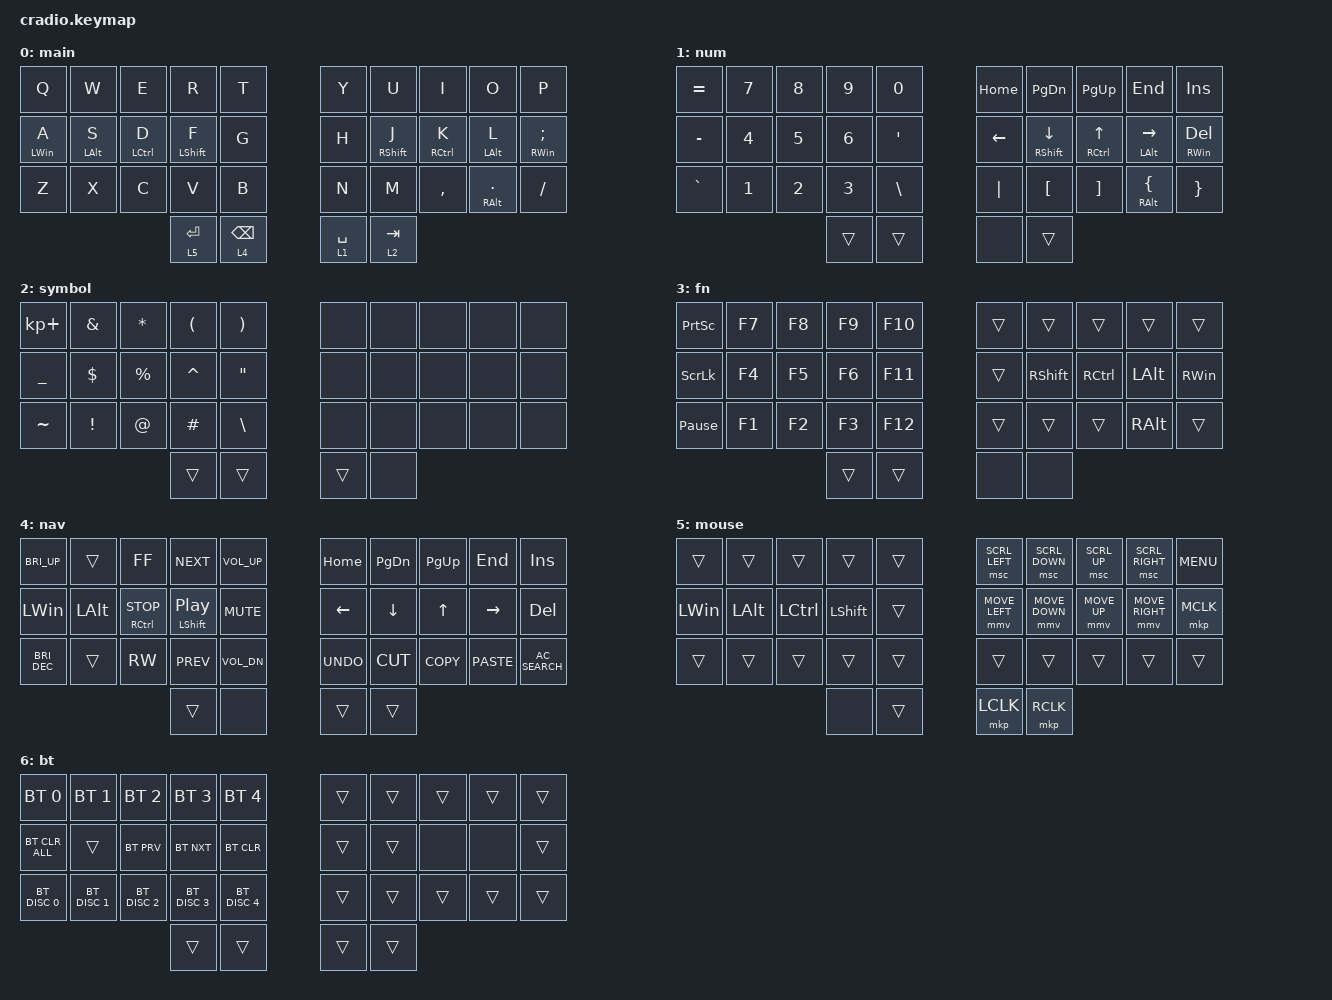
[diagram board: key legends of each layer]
// Copyright (c) 2022 The ZMK Contributors
// SPDX-License-Identifier: MIT

#include <behaviors.dtsi>
#include <dt-bindings/zmk/bt.h>
#include <dt-bindings/zmk/keys.h>
#include <dt-bindings/zmk/pointing.h>

// Home row mods macro
/* #define HRML(k1,k2,k3,k4) &ht LSHFT k1  &ht LALT k2  &ht LCTRL k3  &ht LGUI k4 */
/* #define HRMR(k1,k2,k3,k4) &ht RGUI k1  &ht RCTRL k2  &ht RALT k3  &ht RSHFT k4 */

/ {
    /* behaviors { */
    /*     ht: hold_tap { */
    /*         compatible = "zmk,behavior-hold-tap"; */
    /*         #binding-cells = <2>; */
    /*         flavor = "tap-preferred"; */
    /*         tapping-term-ms = <220>; */
    /*         quick-tap-ms = <150>; */
    /*         require-prior-idle-ms = <100>; */
    /*         bindings = <&kp>, <&kp>; */
    /*     }; */
    /* }; */
    /* conditional_layers { */
    /*     compatible = "zmk,conditional-layers"; */
    /*     tri_layer { */
    /*         if-layers = <1 2>; */
    /*         then-layer = <3>; */
    /*     }; */
    /* }; */

    combos {
        compatible = "zmk,combos";

        left_boot {
            bindings = <&bootloader>;
            key-positions = <10 12 11 13>;
        };

        right_boot {
            bindings = <&bootloader>;
            key-positions = <16 17 18 19>;
        };

        Escape {
            bindings = <&kp ESCAPE>;
            key-positions = <16 17>;
        };

        CapsLock {
            bindings = <&kp CAPS>;
            key-positions = <12 13>;
        };

        left_brk {
            bindings = <&kp LBKT>;
            key-positions = <3 4>;
        };

        right_brk {
            bindings = <&kp RBKT>;
            key-positions = <6 7>;
        };

        left_brc {
            bindings = <&kp LBRC>;
            key-positions = <23 22>;
        };

        right_brc {
            bindings = <&kp RBRC>;
            key-positions = <26 27>;
        };

        left_prn {
            bindings = <&kp LEFT_PARENTHESIS>;
            key-positions = <1 2>;
        };

        right_prn {
            bindings = <&kp RIGHT_PARENTHESIS>;
            key-positions = <7 8>;
        };

        layer_fn {
            bindings = <&lt 3 KP_NUMBER_0>;
            key-positions = <32 33>;
        };

        layer_bt {
            bindings = <&lt 6 DEL>;
            key-positions = <18 17>;
        };
    };

    keymap {
        compatible = "zmk,keymap";

        main {
            bindings = <
&kp Q           &kp W           &kp E        &kp R             &kp T              &kp Y        &kp U              &kp I                &kp O              &kp P
&mt LEFT_WIN A  &mt LEFT_ALT S  &mt LCTRL D  &mt LEFT_SHIFT F  &kp G              &kp H        &mt RIGHT_SHIFT J  &mt RIGHT_CONTROL K  &mt LEFT_ALT L     &mt RIGHT_WIN SEMICOLON
&kp Z           &kp X           &kp C        &kp V             &kp B              &kp N        &kp M              &kp COMMA            &mt RIGHT_ALT DOT  &kp FSLH
                                             &lt 5 ENTER       &lt 4 BACKSPACE    &lt 1 SPACE  &lt 2 TAB
            >;
        };

        num {
            bindings = <
&kp EQUAL  &kp NUMBER_7  &kp NUMBER_8  &kp NUMBER_9  &kp NUMBER_0      &kp HOME  &kp PAGE_DOWN         &kp PAGE_UP        &kp END                   &kp INS
&kp MINUS  &kp NUMBER_4  &kp NUMBER_5  &kp NUMBER_6  &kp APOSTROPHE    &kp LEFT  &mt RIGHT_SHIFT DOWN  &mt RCTRL UP       &mt LEFT_ALT RIGHT        &mt RIGHT_WIN DELETE
&kp GRAVE  &kp NUMBER_1  &kp NUMBER_2  &kp NUMBER_3  &kp BACKSLASH     &kp PIPE  &kp LEFT_BRACKET      &kp RIGHT_BRACKET  &mt RIGHT_ALT LEFT_BRACE  &kp RIGHT_BRACE
                                       &trans        &trans            &none     &trans
            >;
        };

        symbol {
            bindings = <
&kp KP_PLUS     &kp AMPERSAND    &kp ASTERISK  &kp LEFT_PARENTHESIS  &kp RIGHT_PARENTHESIS    &none   &none  &none  &none  &none
&kp UNDERSCORE  &kp DOLLAR       &kp PERCENT   &kp CARET             &kp DOUBLE_QUOTES        &none   &none  &none  &none  &none
&kp TILDE       &kp EXCLAMATION  &kp AT_SIGN   &kp HASH              &kp BACKSLASH            &none   &none  &none  &none  &none
                                               &trans                &trans                   &trans  &none
            >;
        };

        fn {
            bindings = <
&kp PRINTSCREEN  &kp F7  &kp F8  &kp F9  &kp F10    &trans  &trans           &trans     &trans         &trans
&kp SCROLLLOCK   &kp F4  &kp F5  &kp F6  &kp F11    &trans  &kp RIGHT_SHIFT  &kp RCTRL  &kp LEFT_ALT   &kp RIGHT_WIN
&kp PAUSE_BREAK  &kp F1  &kp F2  &kp F3  &kp F12    &trans  &trans           &trans     &kp RIGHT_ALT  &trans
                                 &trans  &trans     &none   &none
            >;
        };

        nav {
            bindings = <
&kp C_BRI_UP   &trans        &kp C_FF          &kp C_NEXT               &kp C_VOL_UP    &kp HOME    &kp PAGE_DOWN  &kp PAGE_UP  &kp END      &kp INS
&kp LEFT_WIN   &kp LEFT_ALT  &mt RCTRL C_STOP  &mt LSHIFT C_PLAY_PAUSE  &kp C_MUTE      &kp LEFT    &kp DOWN       &kp UP       &kp RIGHT    &kp DELETE
&kp C_BRI_DEC  &trans        &kp C_RW          &kp C_PREV               &kp C_VOL_DN    &kp K_UNDO  &kp K_CUT      &kp K_COPY   &kp K_PASTE  &kp C_AC_SEARCH
                                               &trans                   &none           &trans      &trans
            >;
        };

        mouse {
            bindings = <
&trans        &trans        &trans     &trans          &trans    &msc SCRL_LEFT  &msc SCRL_DOWN  &msc SCRL_UP  &msc SCRL_RIGHT  &kp C_MENU
&kp LEFT_WIN  &kp LEFT_ALT  &kp LCTRL  &kp LEFT_SHIFT  &trans    &mmv MOVE_LEFT  &mmv MOVE_DOWN  &mmv MOVE_UP  &mmv MOVE_RIGHT  &mkp MCLK
&trans        &trans        &trans     &trans          &trans    &trans          &trans          &trans        &trans           &trans
                                       &none           &trans    &mkp LCLK       &mkp RCLK
            >;
        };

        bt {
            bindings = <
&bt BT_SEL 0    &bt BT_SEL 1   &bt BT_SEL 2   &bt BT_SEL 3   &bt BT_SEL 4     &trans  &trans  &trans  &trans  &trans
&bt BT_CLR_ALL  &trans         &bt BT_PRV     &bt BT_NXT     &bt BT_CLR       &trans  &trans  &none   &none   &trans
&bt BT_DISC 0   &bt BT_DISC 1  &bt BT_DISC 2  &bt BT_DISC 3  &bt BT_DISC 4    &trans  &trans  &trans  &trans  &trans
                                              &trans         &trans           &trans  &trans
            >;
        };
    };
};
